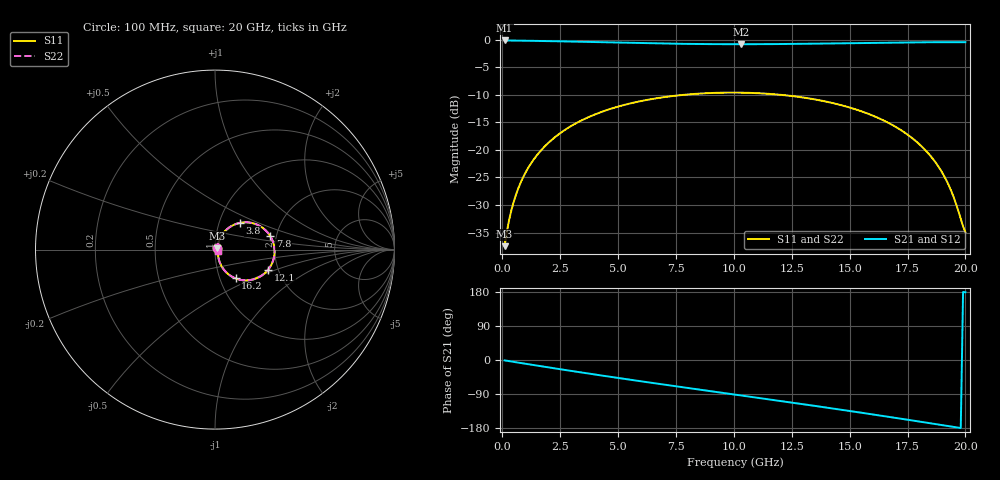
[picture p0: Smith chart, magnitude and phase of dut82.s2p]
! Touchstone file exported from HFSS 2026.1.0
!  File:  C:/ffzhzh/LocalFiles/Ansys_Project_Files/temp_train_TSV_RDL_82_1782971658_45748.aedt
!  Generated:  02:05:30 PM Jul  2, 2026
!  Design:  TSV_RDL
!  Project:  temp_train_TSV_RDL_82_1782971658_45748
! Variables:
!  h_bsmrdl = 4.93um
!  h_ox = 20um
!  h_rdl = 5um
!  h_sub = 80.06um
!  h_tmrdl = 2.46um
!  h_tsv = 80.06um
!  h_via = 3um
!  l_bsmrdl = 664.37um
!  l_sub = 2994.53um
!  l_tmrdl = 111.67um
!  m_sub = 200um
!  pitch = 37.84um
!  r_tsv = 7.2um
!  s_tmrdl = 10um
!  w_bsmrdl = 21.69um
!  w_sub = 500um
!  w_tmrdl = 29.89um
!  x_tsv_center1 = 126.615um
!  x_tsv_center2 = 812.675um
!  x_tsv_center3 = 954.235um
!  x_tsv_center4 = 1640.295um
!  x_tsv_center5 = 1781.855um
!  x_tsv_center6 = 2467.915um
# GHz S MA R 50.000000
! Terminal data exported
! Port[1] = TM_RDL1_1_T1
! Port[2] = TM_RDL5_1_T1
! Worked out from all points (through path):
!   200 points, 100 MHz to 20 GHz, reference 50 ohm
!   highest |S21| = -0.10 dB at 100 MHz (marker M1); lowest = -0.8 dB at 10.3 GHz (marker M2)
!   group delay of S21, straight-line fit = 24.7 ps
!   lowest |S11| = -37.5 dB at 100 MHz (marker M3), VSWR 1.03, Z = 51.2 + j0.702 ohm
!   |S11| at or under -10 dB: start of sweep to 7.786 GHz; 12.08 GHz to end of sweep
!   |S22| runs from -37.5 to -9.6 dB; largest |S21 - S12| = 5.9e-14
!   S11 on the Smith chart (normalised r, x): 100 MHz: 1.02, +0.01; 3.8 GHz: 1.25, +0.39; 7.8 GHz: 1.85, +0.32; 12.1 GHz: 1.76, -0.44; 16.2 GHz: 1.19, -0.40; 20 GHz: 1.03, -0.01
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0.1  0.01337 30.9  0.9886 -1.0  0.9886 -1.0  0.01337 30.9
! Gamma 0 0 0 0
! Port Impedance 50 0 50 0
0.3  0.02344 53.9  0.987 -3.1  0.987 -3.1  0.02344 53.9
0.5  0.03423 61.4  0.9858 -5.0  0.9858 -5.0  0.03423 61.4
0.8  0.0509 65.4  0.9842 -8.0  0.9842 -8.0  0.0509 65.4
1.2  0.07326 65.8  0.9817 -11.9  0.9817 -11.9  0.07326 65.8
2.2  0.1269 60.2  0.9735 -21.5  0.9735 -21.5  0.1269 60.2
3.5  0.1891 49.9  0.9604 -33.7  0.9604 -33.7  0.1891 49.9
3.8  0.202 47.4  0.9571 -36.5  0.9571 -36.5  0.202 47.4
5.3  0.2577 34.8  0.9413 -50.1  0.9413 -50.1  0.2577 34.7
6.8  0.2981 22.2  0.9278 -63.3  0.9278 -63.3  0.2981 22.2
7.8  0.3164 14.0  0.921 -72.0  0.921 -72.0  0.3164 14.0
10.1  0.3322 -4.8  0.9139 -91.7  0.9139 -91.7  0.3322 -4.8
10.3  0.3318 -6.4  0.9139 -93.4  0.9139 -93.4  0.3318 -6.4
12.1  0.3159 -21.0  0.9176 -108.9  0.9176 -108.9  0.3159 -21.1
13.4  0.2904 -31.7  0.924 -120.2  0.924 -120.2  0.2904 -31.7
14.8  0.25 -43.2  0.933 -132.7  0.933 -132.7  0.25 -43.2
16.2  0.197 -54.5  0.9424 -145.5  0.9424 -145.5  0.197 -54.5
16.7  0.1753 -58.4  0.9454 -150.1  0.9454 -150.1  0.1753 -58.4
17.9  0.1184 -66.6  0.9512 -161.4  0.9512 -161.4  0.1184 -66.6
18.8  0.07255 -69.5  0.9536 -169.9  0.9536 -169.9  0.07255 -69.6
19.4  0.04187 -64.6  0.954 -175.6  0.954 -175.6  0.04187 -64.6
20  0.01792 -21.8  0.9535 178.6  0.9535 178.6  0.01793 -21.8
